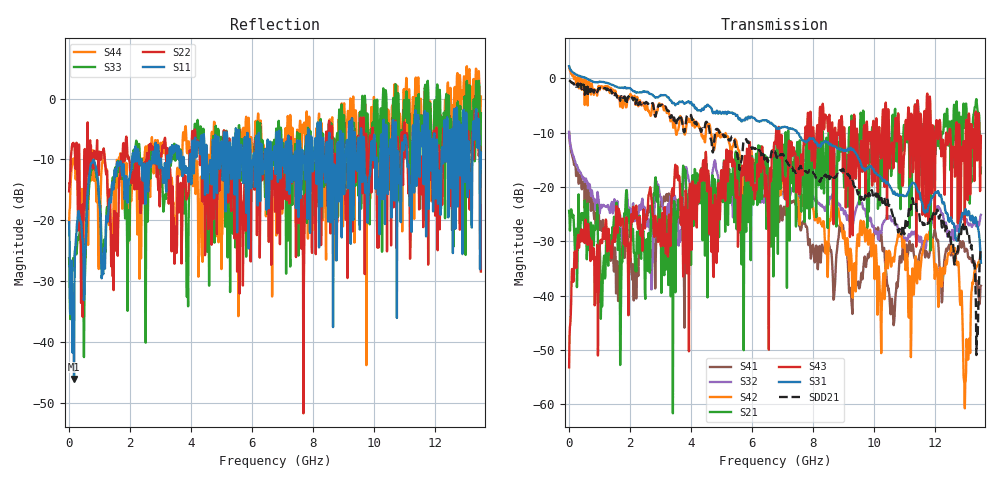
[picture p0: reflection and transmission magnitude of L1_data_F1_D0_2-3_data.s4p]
!Keysight Technologies,N5231B,MY58421610,A.17.35.05
!Date: Tuesday, August 13, 2024 16:25:06
!Correction: Sdd11(Cdelta 4-Port  )
!Sdc11(Cdelta 4-Port  )
!Sdd12(Cdelta 4-Port  )
!Sdc12(Cdelta 4-Port  )
!Scd11(Cdelta 4-Port  )
!Scc11(Cdelta 4-Port  )
!Scd12(Cdelta 4-Port  )
!Scc12(Cdelta 4-Port  )
!Sdd21(Cdelta 4-Port  )
!Sdc21(Cdelta 4-Port  )
!Sdd22(Cdelta 4-Port  )
!Sdc22(Cdelta 4-Port  )
!Scd21(Cdelta 4-Port  )
!Scc21(Cdelta 4-Port  )
!Scd22(Cdelta 4-Port  )
!Scc22(Cdelta 4-Port  )
!Balanced Topology: BBAL
!S4P File: Measurements: <Sdd11,Sdc11,Sdd12,Sdc12>,
!<Scd11,Scc11,Scd12,Scc12>,
!<Sdd21,Sdc21,Sdd22,Sdc22>,
!<Scd21,Scc21,Scd22,Scc22>:
# Hz S  RI  R 50
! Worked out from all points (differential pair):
!   1001 points, 13.49 MHz to 13.5 GHz, reference 50 ohm
!   strongest paths, dB at 13.49 MHz, 3.385 GHz, 6.757 GHz, 10.13 GHz, 13.5 GHz:
!     S31: 2.2, -4.5, -8.8, -17.8, -33.9
!     S43: -53.2, -20.6, -12.1, -21.0, -10.6
!     S21: -24.4, -26.6, -16.6, -24.0, -16.5
!     S42: 2.0, -7.1, -20.9, -40.1, -33.9
!     S32: -9.9, -23.0, -20.1, -29.5, -25.1
!     S41: -10.0, -23.4, -24.3, -27.4, -38.2
!   taken as a pair (ports 1,2 in; 3,4 out), SDD21 dB: -0.4, -7.1, -13.5, -20.9, -31.4
!   lowest |S11| = -46.0 dB at 175.3 MHz (marker M1), VSWR 1.01, Z = 50.3 - j0.412 ohm
!   |S11| at or under -10 dB: start of sweep to 2.079 GHz; 2.374 GHz to 2.738 GHz (363.8 MHz wide, 14.2 % of centre); 3.014 GHz to 3.223 GHz (208.8 MHz wide, 6.7 % of centre)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
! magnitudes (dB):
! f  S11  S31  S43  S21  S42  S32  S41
! 13.49 MHz  -20.3  2.2  -53.2  -24.4  2.0  -9.9  -10.0
! 175.3 MHz  -46.0  0.9  -34.2  -27.6  -0.2  -14.8  -15.9
! 782.2 MHz  -10.4  -0.6  -32.0  -27.6  -2.3  -21.6  -24.2
! 1.133 GHz  -28.8  -0.7  -27.9  -34.6  -1.9  -23.3  -26.5
! 12.6 GHz  -9.1  -26.6  -13.5  -10.0  -32.1  -28.6  -32.2
! 12.99 GHz  -9.2  -24.2  -15.8  -7.1  -56.0  -25.8  -31.6
! 13.5 GHz  -8.8  -33.9  -10.6  -16.5  -33.9  -25.1  -38.2
